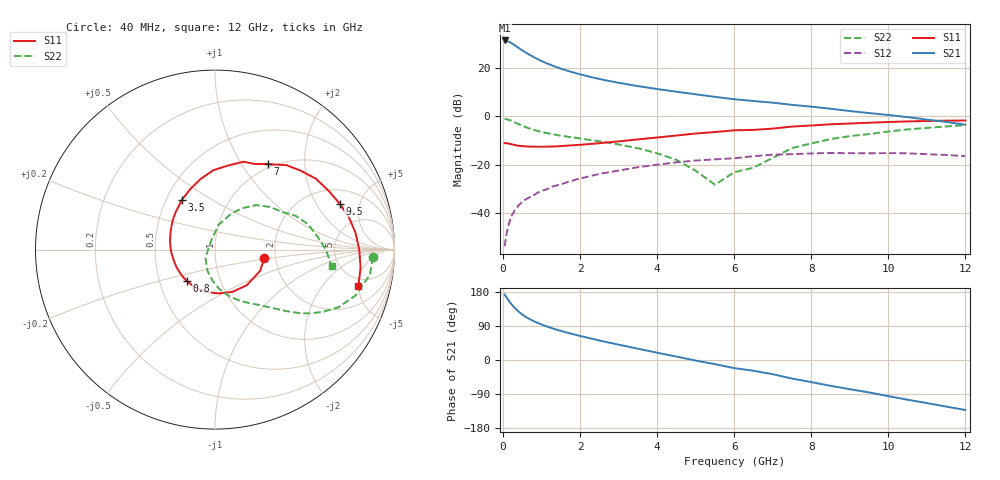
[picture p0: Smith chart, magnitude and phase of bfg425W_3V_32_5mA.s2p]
! Filename: 332bfg425.001
! BFG425W Field C1
! V1=8.569E-001V,V2=3.000E+000V, I1=4.679E-004A, I2=3.255E-002A
# GHz  S  MA  R 50
!  S11  S21  S12  S22
!Freq(GHz)  Mag  Ang  Mag  Ang  Mag  Ang  Mag  Ang
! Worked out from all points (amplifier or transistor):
!   44 points, 40 MHz to 12 GHz, reference 50 ohm
!   highest |S21| = 31.6 dB at 40 MHz (marker M1)
!   |S21| within 3 dB of that: start of sweep to 393.2 MHz
!   unconditionally stable (mu >= 1): start of sweep to 71.78 MHz; 978.9 MHz to end of sweep
!   at 700 MHz: K = 0.90, MSG = 29.5 dB, |S12| = -33.6 dB
!   at 2.4 GHz: K = 1.20, MAG = 17.4 dB, |S12| = -24.3 dB
!   at 12 GHz: K = 1.38, MAG = 2.9 dB, |S12| = -16.5 dB
!   S11 on the Smith chart (normalised r, x): 40 MHz: 1.75, -0.18; 800 MHz: 0.69, -0.26; 3.5 GHz: 0.60, +0.38; 7 GHz: 0.95, +1.31; 9.5 GHz: 2.84, +3.22; 12 GHz: 3.98, -4.98
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0.04  0.279 -9.9  38.13 173.0  0.002 67.1  0.881 -2.7
0.1  0.278 -25.2  37.25 163.7  0.004 76.8  0.875 -9.2
0.2  0.266 -48.2  34.19 149.3  0.008 73.3  0.823 -18.1
0.3  0.255 -67.9  30.35 137.7  0.011 70.2  0.758 -25.1
0.4  0.245 -85.3  26.76 128.0  0.014 67.8  0.692 -30.1
0.5  0.241 -100.4  23.67 119.7  0.017 66.0  0.639 -33.8
0.6  0.238 -112.4  21.07 113.0  0.019 64.9  0.593 -36.7
0.8  0.235 -132.0  17.1 102.2  0.023 63.0  0.525 -40.8
1  0.234 -147.1  14.23 93.6  0.028 61.8  0.476 -43.9
1.3  0.237 -164.5  11.29 83.0  0.035 59.7  0.425 -48.3
1.7  0.248 177.4  8.792 71.3  0.044 56.5  0.377 -53.8
2.2  0.265 159.5  6.849 58.7  0.056 51.3  0.33 -61.5
2.8  0.293 141.5  5.378 44.8  0.07 44.0  0.278 -71.4
3.5  0.333 123.6  4.278 29.8  0.088 34.3  0.218 -84.4
4.5  0.401 101.7  3.269 9.0  0.111 19.3  0.125 -109.7
5.5  0.474 81.2  2.555 -11.1  0.128 3.6  0.038 175.3
6.5  0.525 65.4  2.096 -28.3  0.149 -8.9  0.086 92.5
7  0.559 58.4  1.935 -37.5  0.161 -16.7  0.138 82.3
8.5  0.687 35.1  1.448 -68.2  0.174 -45.6  0.338 47.2
9.5  0.74 20.3  1.176 -85.6  0.171 -62.1  0.429 29.2
10.5  0.788 6.9  0.969 -104.8  0.171 -80.4  0.537 15.4
12  0.824 -14.1  0.673 -131.9  0.149 -109.8  0.657 -8.2
